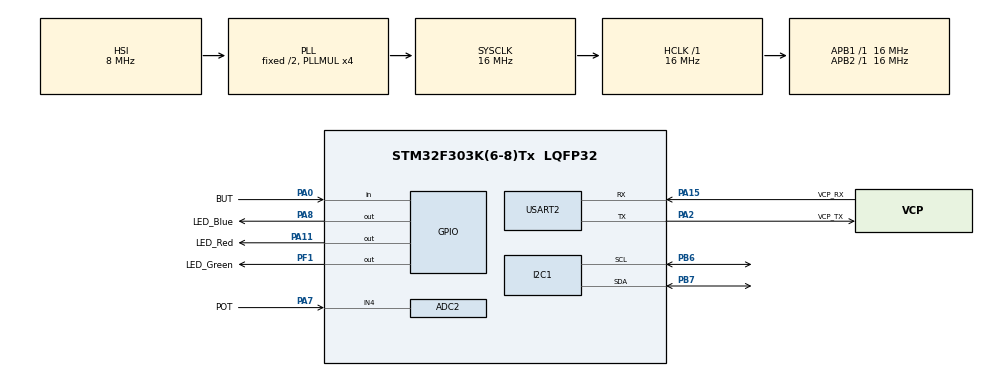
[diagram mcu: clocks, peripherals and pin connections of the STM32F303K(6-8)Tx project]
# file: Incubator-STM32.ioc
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ADC2.Channel-0\#ChannelRegularConversion=ADC_CHANNEL_4
ADC2.NbrOfConversionFlag=1
ADC2.Offset-0\#ChannelRegularConversion=0
ADC2.OffsetNumber-0\#ChannelRegularConversion=ADC_OFFSET_NONE
ADC2.Rank-0\#ChannelRegularConversion=1
ADC2.SamplingTime-0\#ChannelRegularConversion=ADC_SAMPLETIME_1CYCLE_5
ADC2.SubFamily=STM32F303x8
Mcu.Family=STM32F3
Mcu.Name=STM32F303K(6-8)Tx
Mcu.Package=LQFP32
NVIC.PriorityGroup=NVIC_PRIORITYGROUP_4
PA0.GPIO_Label=BUT
PA0.GPIO_PuPd=GPIO_PULLDOWN
PA0.Signal=GPIO_Input
PA11.GPIO_Label=LED_Red
PA11.Signal=GPIO_Output
PA13.GPIO_Label=SWDIO
PA13.Mode=Serial_Wire
PA13.Signal=SYS_JTMS-SWDIO
PA14.GPIO_Label=SWCLK
PA14.Mode=Serial_Wire
PA14.Signal=SYS_JTCK-SWCLK
PA15.GPIO_Label=VCP_RX
PA15.Mode=Asynchronous
PA15.Signal=USART2_RX
PA2.GPIO_Label=VCP_TX
PA2.Mode=Asynchronous
PA2.Signal=USART2_TX
PA7.GPIO_Label=POT
PA7.Signal=SharedAnalog_PA7
PA8.GPIO_Label=LED_Blue
PA8.Signal=GPIO_Output
PB6.Mode=I2C
PB6.Signal=I2C1_SCL
PB7.Mode=I2C
PB7.Signal=I2C1_SDA
PF0\ /\ OSC_IN.GPIO_Label=MCO
PF0\ /\ OSC_IN.Mode=HSE-External-Clock-Source
PF0\ /\ OSC_IN.Signal=RCC_OSC_IN
PF1\ /\ OSC_OUT.GPIO_Label=LED_Green
PF1\ /\ OSC_OUT.Signal=GPIO_Output
ProjectManager.HeapSize=0x200
ProjectManager.StackSize=0x400
ProjectManager.TargetToolchain=TrueSTUDIO
RCC.AHBFreq_Value=16000000
RCC.APB1Freq_Value=16000000
RCC.APB1TimFreq_Value=16000000
RCC.APB2Freq_Value=16000000
RCC.APB2TimFreq_Value=16000000
RCC.CortexFreq_Value=16000000
RCC.HCLKFreq_Value=16000000
RCC.HSE_VALUE=8000000
RCC.HSI_VALUE=8000000
RCC.PLLMUL=RCC_PLL_MUL4
RCC.SYSCLKFreq_VALUE=16000000
RCC.SYSCLKSourceVirtual=RCC_SYSCLKSOURCE_PLLCLK
SH.SharedAnalog_PA7.0=GPIO_Analog
SH.SharedAnalog_PA7.1=ADC2_IN4,IN4-Single-Ended
USART2.VirtualMode-Asynchronous=VM_ASYNC
board=NUCLEO-F303K8

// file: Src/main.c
/* USER CODE BEGIN Header */
/**
  ******************************************************************************
  * @file           : main.c
  * @brief          : Main program body
  ******************************************************************************
  * @attention
  *
  * <h2><center>&copy; Copyright (c) 2019 STMicroelectronics.
  * All rights reserved.</center></h2>
  *
  * This software component is licensed by ST under BSD 3-Clause license,
  * the "License"; You may not use this file except in compliance with the
  * License. You may obtain a copy of the License at:
  *                        opensource.org/licenses/BSD-3-Clause
  *
  ******************************************************************************
  */
/* USER CODE END Header */

#include "main.h"
#include "printf.h"

/* USER CODE BEGIN Includes */
#include "dwt_stm32_delay.h"
#include "lcd1602.h"
#include "cb_stm32_onewire.h"
#include "cb_stm32_gpio.h"
#include "DS18B20.h"
#include "menu.h"
/* USER CODE END Includes */

ADC_HandleTypeDef hadc2;

I2C_HandleTypeDef hi2c1;

UART_HandleTypeDef huart2;

/* USER CODE BEGIN PV */
extern ADC_HandleTypeDef* hadc_global=&hadc2;

OneWire_t OW[4];
char buffer[16];

char int_to_hexString(uint8_t val){
	if(val<10) return '0'+val;

	return 'A'+val-10;
}
void rom_to_hex(char* hexStr, uint8_t rom[]){
	for(uint8_t i=0;i<8;i++){
		hexStr[15-2*i]=int_to_hexString(rom[i]&0xF);
		hexStr[14-2*i]=int_to_hexString((rom[i]&0xF0)>>4);
	}
}

/* USER CODE END PV */

void SystemClock_Config(void);
static void MX_GPIO_Init(void);
static void MX_ADC2_Init(void);
static void MX_I2C1_Init(void);
static void MX_USART2_UART_Init(void);

int main(void)
{

  /* MCU Configuration--------------------------------------------------------*/

  /* Reset of all peripherals, Initializes the Flash interface and the Systick. */
  HAL_Init();

  /* Configure the system clock */
  SystemClock_Config();

  /* Initialize all configured peripherals */
  MX_GPIO_Init();
  MX_ADC2_Init();
  MX_I2C1_Init();
  MX_USART2_UART_Init();
  /* USER CODE BEGIN 2 */
	if(DWT_Delay_Init()){
	  Error_Handler(); /* Call Error Handler */
	}
	LCD_Init(&hi2c1, 0x3F, 16, 2);		//Base Add for PCF8574 is 0x27 and for PCF8574A is 0x3F

	OneWire_AllInit(OW,4,GPIOA,1);

	LCD_backlight();

	uint8_t index=0, n;

	do{
		n=OneWire_ID_Devices(OW,4);
		LCD_setCursor(0,0);
		sprintf(buffer,"%d devices found",n);
		LCD_printstr(buffer);
		if(index){
			LCD_setCursor(0,1);
			sprintf(buffer,"%d ID:invalid CRC",index);
			LCD_printstr(buffer);
		}
		HAL_Delay(500);
	}while((index=OneWire_CRC8_All(OW,7)));
	HAL_GPIO_WritePin(LED_Red_GPIO_Port,LED_Red_Pin,GPIO_PIN_SET);
	LCD_clear();
	LCD_setCursor(0,0);
	LCD_printstr("Init Successful!");
	HAL_Delay(500);

	LCD_setCursor(0,0);
	rom_to_hex(buffer, OW[0].ROM_NO);
	LCD_printstr(buffer);

	LCD_setCursor(0,1);
	rom_to_hex(buffer, OW[1].ROM_NO);
	LCD_printstr(buffer);

	DS18B20_Init(OW+1,ten_bits_PRECISION);

	InitMenu();

  /* USER CODE END 2 */
  /* Infinite loop */
  while (1)
  {
	DS18B20_StartConv(OW+1);
	float temp=DS18B20_ReadTemp(OW+1);
	sprintf(buffer,"%2.2f",temp);
	LCD_clear();
	LCD_setCursor(0,0);
	LCD_printstr(buffer);

	//Display ADC
	HAL_ADC_Start(&hadc2);
	HAL_ADC_PollForConversion(&hadc2, HAL_MAX_DELAY);
	sprintf(buffer,"%d",HAL_ADC_GetValue(&hadc2));
	LCD_setCursor(7,0);
	LCD_printstr(buffer);

	//Display Menu
	DisplayMenu();

  }
}

void SystemClock_Config(void)
{
  RCC_OscInitTypeDef RCC_OscInitStruct = {0};
  RCC_ClkInitTypeDef RCC_ClkInitStruct = {0};
  RCC_PeriphCLKInitTypeDef PeriphClkInit = {0};

  /** Initializes the CPU, AHB and APB busses clocks
  */
  RCC_OscInitStruct.OscillatorType = RCC_OSCILLATORTYPE_HSI;
  RCC_OscInitStruct.HSIState = RCC_HSI_ON;
  RCC_OscInitStruct.HSICalibrationValue = RCC_HSICALIBRATION_DEFAULT;
  RCC_OscInitStruct.PLL.PLLState = RCC_PLL_ON;
  RCC_OscInitStruct.PLL.PLLSource = RCC_PLLSOURCE_HSI;
  RCC_OscInitStruct.PLL.PLLMUL = RCC_PLL_MUL4;
  if (HAL_RCC_OscConfig(&RCC_OscInitStruct) != HAL_OK)
  {
    Error_Handler();
  }
  /** Initializes the CPU, AHB and APB busses clocks
  */
  RCC_ClkInitStruct.ClockType = RCC_CLOCKTYPE_HCLK|RCC_CLOCKTYPE_SYSCLK
                              |RCC_CLOCKTYPE_PCLK1|RCC_CLOCKTYPE_PCLK2;
  RCC_ClkInitStruct.SYSCLKSource = RCC_SYSCLKSOURCE_PLLCLK;
  RCC_ClkInitStruct.AHBCLKDivider = RCC_SYSCLK_DIV1;
  RCC_ClkInitStruct.APB1CLKDivider = RCC_HCLK_DIV1;
  RCC_ClkInitStruct.APB2CLKDivider = RCC_HCLK_DIV1;

  if (HAL_RCC_ClockConfig(&RCC_ClkInitStruct, FLASH_LATENCY_0) != HAL_OK)
  {
    Error_Handler();
  }
  PeriphClkInit.PeriphClockSelection = RCC_PERIPHCLK_I2C1|RCC_PERIPHCLK_ADC12;
  PeriphClkInit.Adc12ClockSelection = RCC_ADC12PLLCLK_DIV1;
  PeriphClkInit.I2c1ClockSelection = RCC_I2C1CLKSOURCE_HSI;
  if (HAL_RCCEx_PeriphCLKConfig(&PeriphClkInit) != HAL_OK)
  {
    Error_Handler();
  }
}

static void MX_ADC2_Init(void)
{

  ADC_ChannelConfTypeDef sConfig = {0};

  /** Common config
  */
  hadc2.Instance = ADC2;
  hadc2.Init.ClockPrescaler = ADC_CLOCK_ASYNC_DIV1;
  hadc2.Init.Resolution = ADC_RESOLUTION_12B;
  hadc2.Init.ScanConvMode = ADC_SCAN_DISABLE;
  hadc2.Init.ContinuousConvMode = DISABLE;
  hadc2.Init.DiscontinuousConvMode = DISABLE;
  hadc2.Init.ExternalTrigConvEdge = ADC_EXTERNALTRIGCONVEDGE_NONE;
  hadc2.Init.ExternalTrigConv = ADC_SOFTWARE_START;
  hadc2.Init.DataAlign = ADC_DATAALIGN_RIGHT;
  hadc2.Init.NbrOfConversion = 1;
  hadc2.Init.DMAContinuousRequests = DISABLE;
  hadc2.Init.EOCSelection = ADC_EOC_SINGLE_CONV;
  hadc2.Init.LowPowerAutoWait = DISABLE;
  hadc2.Init.Overrun = ADC_OVR_DATA_OVERWRITTEN;
  if (HAL_ADC_Init(&hadc2) != HAL_OK)
  {
    Error_Handler();
  }
  /** Configure Regular Channel
  */
  sConfig.Channel = ADC_CHANNEL_4;
  sConfig.Rank = ADC_REGULAR_RANK_1;
  sConfig.SingleDiff = ADC_SINGLE_ENDED;
  sConfig.SamplingTime = ADC_SAMPLETIME_1CYCLE_5;
  sConfig.OffsetNumber = ADC_OFFSET_NONE;
  sConfig.Offset = 0;
  if (HAL_ADC_ConfigChannel(&hadc2, &sConfig) != HAL_OK)
  {
    Error_Handler();
  }

}

static void MX_I2C1_Init(void)
{

  hi2c1.Instance = I2C1;
  hi2c1.Init.Timing = 0x2000090E;
  hi2c1.Init.OwnAddress1 = 0;
  hi2c1.Init.AddressingMode = I2C_ADDRESSINGMODE_7BIT;
  hi2c1.Init.DualAddressMode = I2C_DUALADDRESS_DISABLE;
  hi2c1.Init.OwnAddress2 = 0;
  hi2c1.Init.OwnAddress2Masks = I2C_OA2_NOMASK;
  hi2c1.Init.GeneralCallMode = I2C_GENERALCALL_DISABLE;
  hi2c1.Init.NoStretchMode = I2C_NOSTRETCH_DISABLE;
  if (HAL_I2C_Init(&hi2c1) != HAL_OK)
  {
    Error_Handler();
  }
  /** Configure Analogue filter
  */
  if (HAL_I2CEx_ConfigAnalogFilter(&hi2c1, I2C_ANALOGFILTER_ENABLE) != HAL_OK)
  {
    Error_Handler();
  }
  /** Configure Digital filter
  */
  if (HAL_I2CEx_ConfigDigitalFilter(&hi2c1, 0) != HAL_OK)
  {
    Error_Handler();
  }

}

static void MX_USART2_UART_Init(void)
{

  huart2.Instance = USART2;
  huart2.Init.BaudRate = 38400;
  huart2.Init.WordLength = UART_WORDLENGTH_8B;
  huart2.Init.StopBits = UART_STOPBITS_1;
  huart2.Init.Parity = UART_PARITY_NONE;
  huart2.Init.Mode = UART_MODE_TX_RX;
  huart2.Init.HwFlowCtl = UART_HWCONTROL_NONE;
  huart2.Init.OverSampling = UART_OVERSAMPLING_16;
  huart2.Init.OneBitSampling = UART_ONE_BIT_SAMPLE_DISABLE;
  huart2.AdvancedInit.AdvFeatureInit = UART_ADVFEATURE_NO_INIT;
  if (HAL_UART_Init(&huart2) != HAL_OK)
  {
    Error_Handler();
  }

}

static void MX_GPIO_Init(void)
{
  GPIO_InitTypeDef GPIO_InitStruct = {0};

  /* GPIO Ports Clock Enable */
  __HAL_RCC_GPIOF_CLK_ENABLE();
  __HAL_RCC_GPIOA_CLK_ENABLE();
  __HAL_RCC_GPIOB_CLK_ENABLE();

  /*Configure GPIO pin Output Level */
  HAL_GPIO_WritePin(LED_Green_GPIO_Port, LED_Green_Pin, GPIO_PIN_RESET);

  /*Configure GPIO pin Output Level */
  HAL_GPIO_WritePin(GPIOA, LED_Blue_Pin|LED_Red_Pin, GPIO_PIN_RESET);

  /*Configure GPIO pin : LED_Green_Pin */
  GPIO_InitStruct.Pin = LED_Green_Pin;
  GPIO_InitStruct.Mode = GPIO_MODE_OUTPUT_PP;
  GPIO_InitStruct.Pull = GPIO_NOPULL;
  GPIO_InitStruct.Speed = GPIO_SPEED_FREQ_LOW;
  HAL_GPIO_Init(LED_Green_GPIO_Port, &GPIO_InitStruct);

  /*Configure GPIO pin : BUT_Pin */
  GPIO_InitStruct.Pin = BUT_Pin;
  GPIO_InitStruct.Mode = GPIO_MODE_INPUT;
  GPIO_InitStruct.Pull = GPIO_PULLDOWN;
  HAL_GPIO_Init(BUT_GPIO_Port, &GPIO_InitStruct);

  /*Configure GPIO pin : POT_Pin */
  GPIO_InitStruct.Pin = POT_Pin;
  GPIO_InitStruct.Mode = GPIO_MODE_ANALOG;
  GPIO_InitStruct.Pull = GPIO_NOPULL;
  HAL_GPIO_Init(POT_GPIO_Port, &GPIO_InitStruct);

  /*Configure GPIO pins : LED_Blue_Pin LED_Red_Pin */
  GPIO_InitStruct.Pin = LED_Blue_Pin|LED_Red_Pin;
  GPIO_InitStruct.Mode = GPIO_MODE_OUTPUT_PP;
  GPIO_InitStruct.Pull = GPIO_NOPULL;
  GPIO_InitStruct.Speed = GPIO_SPEED_FREQ_LOW;
  HAL_GPIO_Init(GPIOA, &GPIO_InitStruct);

}

void Error_Handler(void)
{
}

/************************ (C) COPYRIGHT STMicroelectronics *****END OF FILE****/
